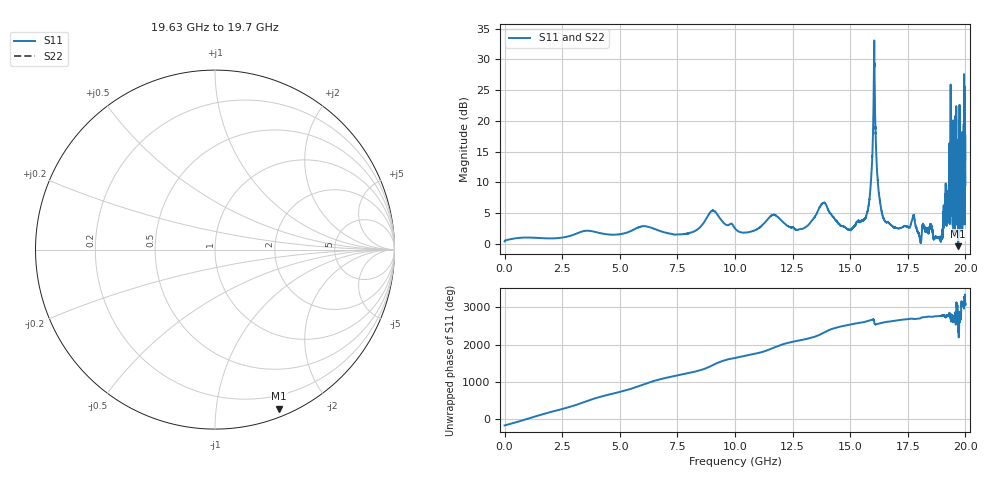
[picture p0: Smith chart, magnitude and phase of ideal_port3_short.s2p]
! Created with skrf (http://scikit-rf.org).
# GHz S RI R 50.0
!freq ReS11 ImS11 ReS21 ImS21 ReS12 ImS12 ReS22 ImS22
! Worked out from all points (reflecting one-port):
!   10001 points, 1 MHz to 20 GHz, reference 50 ohm
!   lowest |S11| = -0.4 dB at 19.69 GHz (marker M1), VSWR 44.69, Z = 3.57 - j74 ohm
!   phase of S11 starts at -180 deg and turns +3260 deg over the sweep
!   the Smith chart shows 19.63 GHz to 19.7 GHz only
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0.001  -1.045 -0.00624  0 0  0 0  -1.045 -0.00624
2.584871  0.1448 -1.119  0 0  0 0  0.1448 -1.119
3.334833  0.5605 1.121  0 0  0 0  0.5605 1.121
5.930703  -1.382 -0.081  0 0  0 0  -1.382 -0.081
6.668667  1.13 -0.6135  0 0  0 0  1.13 -0.6135
8.260587  -1.253 -0.1995  0 0  0 0  -1.253 -0.1995
9.036548  1.854 0.1711  0 0  0 0  1.854 0.1711
10.0005  -1.266 -0.4124  0 0  0 0  -1.266 -0.4124
13.33433  1.378 0.6953  0 0  0 0  1.378 0.6953
13.89831  -2.146 0.1214  0 0  0 0  -2.146 0.1214
14.26029  0.0125 -1.649  0 0  0 0  0.0125 -1.649
15.46223  0.4974 1.451  0 0  0 0  0.4974 1.451
15.82421  -1.266 1.808  0 0  0 0  -1.266 1.808
15.9402  -3.646 2.331  0 0  0 0  -3.646 2.331
15.9662  -4.914 2.562  0 0  0 0  -4.914 2.562
16.0362  -24.79 29.89  0 0  0 0  -24.79 29.89
16.14419  4.106 2.214  0 0  0 0  4.106 2.214
16.27019  1.555 1.794  0 0  0 0  1.555 1.794
16.66817  -0.1821 1.473  0 0  0 0  -0.1821 1.473
19.27404  -0.8364 -2.423  0 0  0 0  -0.8364 -2.423
19.68802  0.3577 -0.8868  0 0  0 0  0.3577 -0.8868
20  -2.825 -1.037  0 0  0 0  -2.825 -1.037
